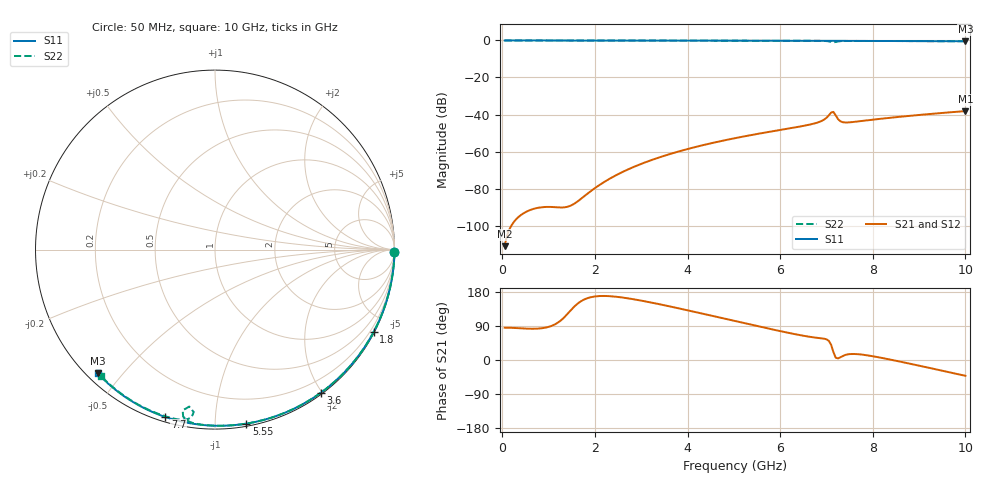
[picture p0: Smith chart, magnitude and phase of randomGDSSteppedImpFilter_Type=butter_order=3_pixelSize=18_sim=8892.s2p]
! freq	dB(S11)	phase(S11)	dB(S12)	phase(S12)
!  dB(S21)	phase(S21)	dB(S22)	phase(S22)
!S-par simulation data
#  GHz  S  DB  R 50
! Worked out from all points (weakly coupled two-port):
!   200 points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, 50 MHz to 10 GHz, reference 50 ohm
!   highest |S21| = -38.16 dB at 10 GHz (marker M1); lowest = -111.1 dB at 50 MHz (marker M2)
!   lowest |S11| = -0.4 dB at 10 GHz (marker M3), VSWR 38.71, Z = 1.53 - j21.5 ohm
!   |S11| at or under -10 dB: nowhere
!   |S22| runs from -1.0 to 0.0 dB; largest |S21 - S12| = 0
!   S11 on the Smith chart (normalised r, x): 50 MHz: open; 1.8 GHz: 0.04, -4.11; 3.6 GHz: 0.02, -1.99; 5.55 GHz: 0.02, -1.20; 7.7 GHz: 0.02, -0.75; 10 GHz: 0.03, -0.43
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0.05  -0.00 -0.8  -111.11 85.3  -111.11 85.3  -0.00 -0.8
0.9  -0.02 -13.8  -90.00 84.7  -90.00 84.7  -0.02 -13.7
1.75  -0.03 -26.6  -84.52 158.6  -84.52 158.6  -0.03 -26.4
1.8  -0.03 -27.3  -83.53 161.4  -83.53 161.4  -0.03 -27.2
2  -0.04 -30.3  -79.77 167.7  -79.77 167.7  -0.04 -30.1
2.35  -0.05 -35.5  -74.23 168.1  -74.23 168.1  -0.05 -35.2
2.65  -0.05 -39.8  -70.40 163.9  -70.40 163.9  -0.05 -39.6
3.4  -0.07 -50.6  -63.08 147.0  -63.08 147.0  -0.07 -50.3
3.6  -0.07 -53.4  -61.49 141.9  -61.49 141.9  -0.07 -53.1
4.3  -0.09 -63.1  -56.75 123.0  -56.75 123.0  -0.09 -62.8
5.05  -0.11 -73.2  -52.65 102.1  -52.65 102.1  -0.11 -72.9
5.55  -0.13 -79.8  -50.30 88.3  -50.30 88.3  -0.13 -79.4
6.7  -0.18 -94.4  -45.09 60.1  -45.09 60.1  -0.19 -94.6
6.95  -0.20 -97.5  -42.72 56.2  -42.72 56.2  -0.28 -98.6
7.1  -0.20 -99.3  -38.96 40.4  -38.96 40.4  -0.78 -101.4
7.15  -0.20 -99.9  -38.59 20.8  -38.59 20.8  -1.05 -99.3
7.2  -0.21 -100.5  -40.48 6.1  -40.48 6.1  -0.79 -97.5
7.25  -0.21 -101.1  -42.50 4.2  -42.50 4.2  -0.53 -97.9
7.35  -0.22 -102.4  -44.14 10.6  -44.14 10.6  -0.34 -99.8
7.7  -0.24 -106.6  -43.68 15.2  -43.68 15.2  -0.27 -105.0
8.35  -0.29 -114.3  -41.83 1.8  -41.83 1.8  -0.30 -113.0
10  -0.45 -133.5  -38.16 -41.7  -38.16 -41.7  -0.46 -132.2
